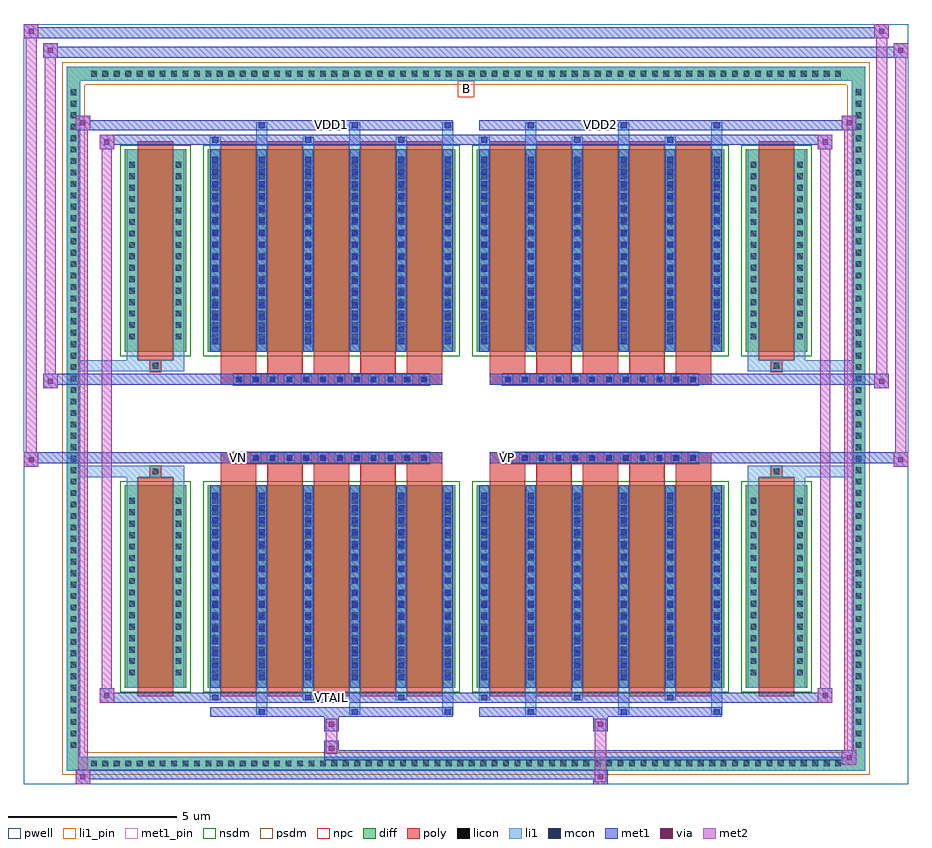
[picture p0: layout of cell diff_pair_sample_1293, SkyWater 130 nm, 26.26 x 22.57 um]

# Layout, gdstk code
import gdstk
lib = gdstk.Library(unit=1e-6, precision=5e-09)
def R(c, l, rs):  # rectangles x0, y0, x1, y1
    for r in rs: c.add(gdstk.rectangle(r[:2], r[2:], *l))
def A(c, l, x, y, w, h, nx, ny, dx, dy):  # array of equal rectangles
    R(c, l, [(x+i*dx, y+j*dy, x+i*dx+w, y+j*dy+h) for i in range(nx) for j in range(ny)])
def P(c, l, *ps):  # polygons
    for p in ps: c.add(gdstk.Polygon(p, *l))
pwell = (64, 44)
diff = (65, 20)
poly = (66, 20)
licon = (66, 44)
li1_pin = (67, 16)
li1 = (67, 20)
mcon = (67, 44)
met1_pin = (68, 16)
met1 = (68, 20)
via = (68, 44)
met2 = (69, 20)
nsdm = (93, 44)
psdm = (94, 20)
npc = (95, 20)

diff_pair_sample_1293 = lib.new_cell('diff_pair_sample_1293')
R(diff_pair_sample_1293, pwell, [(-13.13,-10.85,13.13,11.72), (-10.45,-9.04,-0.01,-0.8), (0.01,-9.04,10.45,-0.8), (-10.45,0.8,-0.01,9.04), (0.01,0.8,10.45,9.04)])
A(diff_pair_sample_1293, diff, -11.255, -10.45, 0.41, 0.41, 66, 2, 0.34, 20.49)
A(diff_pair_sample_1293, diff, -11.86, -9.895, 0.41, 0.41, 1, 58, 0, 0.34)
A(diff_pair_sample_1293, diff, 11.45, -9.895, 0.41, 0.41, 1, 58, 0, 0.34)
R(diff_pair_sample_1293, diff, [(-11.255,-10.45,11.255,-10.04), (-11.86,-9.895,-11.45,9.895), (11.45,-9.895,11.86,9.895), (-10.14,-7.995,-8.31,-1.985), (-7.67,-7.995,-0.32,-1.985), (0.32,-7.995,7.67,-1.985), (8.31,-7.995,10.14,-1.985), (-10.14,1.985,-8.31,7.995), (-7.67,1.985,-0.32,7.995), (0.32,1.985,7.67,7.995), (8.31,1.985,10.14,7.995), (-11.255,10.04,11.255,10.45)])
P(diff_pair_sample_1293, diff, [(11.86,10.45),(-11.86,10.45),(-11.86,-10.04),(-11.45,-10.04),(-11.45,10.04),(11.45,10.04),(11.45,-10.04),(-11.45,-10.04),(-11.86,-10.04),(-11.86,-10.45),(11.86,-10.45)])
A(diff_pair_sample_1293, poly, -7.28, -8.245, 1.05, 6.51, 5, 2, 1.38, 9.98)
A(diff_pair_sample_1293, poly, 0.71, -8.245, 1.05, 6.51, 5, 2, 1.38, 9.98)
A(diff_pair_sample_1293, poly, -7.28, -1.735, 1.05, 0.405, 5, 2, 1.38, 3.065)
A(diff_pair_sample_1293, poly, 0.71, -1.735, 1.05, 0.405, 5, 2, 1.38, 3.065)
A(diff_pair_sample_1293, poly, -6.91, -1.33, 0.33, 0.33, 12, 2, 0.5, 2.33)
A(diff_pair_sample_1293, poly, 1.08, -1.33, 0.33, 0.33, 12, 2, 0.5, 2.33)
R(diff_pair_sample_1293, poly, [(-9.75,-8.245,-8.7,-1.735), (8.7,-8.245,9.75,-1.735), (-9.39,-1.735,-9.06,-1.405), (-9.39,-1.735,-9.06,-1.405), (9.06,-1.735,9.39,-1.405), (9.06,-1.735,9.39,-1.405), (-7.28,-1.33,-0.71,-1), (0.71,-1.33,7.28,-1), (-7.28,1,-0.71,1.33), (0.71,1,7.28,1.33), (-9.39,1.405,-9.06,1.735), (-9.39,1.405,-9.06,1.735), (9.06,1.405,9.39,1.735), (9.06,1.405,9.39,1.735), (-9.75,1.735,-8.7,8.245), (8.7,1.735,9.75,8.245)])
A(diff_pair_sample_1293, licon, -11.135, -10.33, 0.17, 0.17, 66, 2, 0.34, 20.49)
A(diff_pair_sample_1293, licon, -11.74, -9.775, 0.17, 0.17, 1, 58, 0, 0.34)
A(diff_pair_sample_1293, licon, 11.57, -9.775, 0.17, 0.17, 1, 58, 0, 0.34)
A(diff_pair_sample_1293, licon, -10, -7.625, 0.17, 0.17, 1, 16, 0, 0.34)
A(diff_pair_sample_1293, licon, -8.62, -7.625, 0.17, 0.17, 1, 16, 0, 0.34)
A(diff_pair_sample_1293, licon, -7.53, -7.625, 0.17, 0.17, 6, 16, 1.38, 0.34)
A(diff_pair_sample_1293, licon, 0.46, -7.625, 0.17, 0.17, 6, 16, 1.38, 0.34)
A(diff_pair_sample_1293, licon, 8.45, -7.625, 0.17, 0.17, 1, 16, 0, 0.34)
A(diff_pair_sample_1293, licon, 9.83, -7.625, 0.17, 0.17, 1, 16, 0, 0.34)
A(diff_pair_sample_1293, licon, -6.83, -1.25, 0.17, 0.17, 12, 2, 0.5, 2.33)
A(diff_pair_sample_1293, licon, 1.16, -1.25, 0.17, 0.17, 12, 2, 0.5, 2.33)
A(diff_pair_sample_1293, licon, -10, 2.355, 0.17, 0.17, 1, 16, 0, 0.34)
A(diff_pair_sample_1293, licon, -8.62, 2.355, 0.17, 0.17, 1, 16, 0, 0.34)
A(diff_pair_sample_1293, licon, -7.53, 2.355, 0.17, 0.17, 6, 16, 1.38, 0.34)
A(diff_pair_sample_1293, licon, 0.46, 2.355, 0.17, 0.17, 6, 16, 1.38, 0.34)
A(diff_pair_sample_1293, licon, 8.45, 2.355, 0.17, 0.17, 1, 16, 0, 0.34)
A(diff_pair_sample_1293, licon, 9.83, 2.355, 0.17, 0.17, 1, 16, 0, 0.34)
R(diff_pair_sample_1293, licon, [(-9.31,-1.655,-9.14,-1.485), (9.14,-1.655,9.31,-1.485), (-9.31,1.485,-9.14,1.655), (9.14,1.485,9.31,1.655)])
R(diff_pair_sample_1293, li1_pin, [(-0.25,9.54,0.25,10.04)])
A(diff_pair_sample_1293, li1, -11.215, -10.41, 0.33, 0.33, 66, 2, 0.34, 20.49)
A(diff_pair_sample_1293, li1, -11.82, -9.855, 0.33, 0.33, 1, 58, 0, 0.34)
A(diff_pair_sample_1293, li1, 11.49, -9.855, 0.33, 0.33, 1, 58, 0, 0.34)
A(diff_pair_sample_1293, li1, -6.23, -8.8, 0.33, 0.805, 3, 2, 2.76, 16.795)
A(diff_pair_sample_1293, li1, -6.15, -8.8, 0.17, 0.17, 3, 2, 2.76, 17.43)
A(diff_pair_sample_1293, li1, 1.76, -8.8, 0.33, 0.805, 3, 2, 2.76, 16.795)
A(diff_pair_sample_1293, li1, 1.84, -8.8, 0.17, 0.17, 3, 2, 2.76, 17.43)
A(diff_pair_sample_1293, li1, -7.61, -8.37, 0.33, 0.375, 3, 2, 2.76, 16.365)
A(diff_pair_sample_1293, li1, -7.53, -8.37, 0.17, 0.17, 3, 2, 2.76, 16.57)
A(diff_pair_sample_1293, li1, 0.38, -8.37, 0.33, 0.375, 3, 2, 2.76, 16.365)
A(diff_pair_sample_1293, li1, 0.46, -8.37, 0.17, 0.17, 3, 2, 2.76, 16.57)
A(diff_pair_sample_1293, li1, -7.61, -7.995, 0.33, 6.01, 6, 2, 1.38, 9.98)
A(diff_pair_sample_1293, li1, 0.38, -7.995, 0.33, 6.01, 6, 2, 1.38, 9.98)
A(diff_pair_sample_1293, li1, -7.53, -7.775, 0.17, 0.17, 6, 16, 1.38, 0.36)
A(diff_pair_sample_1293, li1, -7.53, -7.775, 0.17, 5.57, 6, 2, 1.38, 9.98)
A(diff_pair_sample_1293, li1, 0.46, -7.775, 0.17, 0.17, 6, 16, 1.38, 0.36)
A(diff_pair_sample_1293, li1, 0.46, -7.775, 0.17, 5.57, 6, 2, 1.38, 9.98)
A(diff_pair_sample_1293, li1, -10.08, -7.705, 0.33, 0.33, 1, 16, 0, 0.34)
A(diff_pair_sample_1293, li1, -8.7, -7.705, 0.33, 0.33, 1, 16, 0, 0.34)
A(diff_pair_sample_1293, li1, -7.61, -7.705, 0.33, 0.33, 6, 16, 1.38, 0.34)
A(diff_pair_sample_1293, li1, 0.38, -7.705, 0.33, 0.33, 6, 16, 1.38, 0.34)
A(diff_pair_sample_1293, li1, 8.37, -7.705, 0.33, 0.33, 1, 16, 0, 0.34)
A(diff_pair_sample_1293, li1, 9.75, -7.705, 0.33, 0.33, 1, 16, 0, 0.34)
A(diff_pair_sample_1293, li1, -6.91, -1.33, 0.33, 0.33, 12, 2, 0.5, 2.33)
A(diff_pair_sample_1293, li1, 1.08, -1.33, 0.33, 0.33, 12, 2, 0.5, 2.33)
A(diff_pair_sample_1293, li1, -7.53, 2.205, 0.17, 0.17, 6, 16, 1.38, 0.36)
A(diff_pair_sample_1293, li1, 0.46, 2.205, 0.17, 0.17, 6, 16, 1.38, 0.36)
A(diff_pair_sample_1293, li1, -10.08, 2.275, 0.33, 0.33, 1, 16, 0, 0.34)
A(diff_pair_sample_1293, li1, -8.7, 2.275, 0.33, 0.33, 1, 16, 0, 0.34)
A(diff_pair_sample_1293, li1, -7.61, 2.275, 0.33, 0.33, 6, 16, 1.38, 0.34)
A(diff_pair_sample_1293, li1, 0.38, 2.275, 0.33, 0.33, 6, 16, 1.38, 0.34)
A(diff_pair_sample_1293, li1, 8.37, 2.275, 0.33, 0.33, 1, 16, 0, 0.34)
A(diff_pair_sample_1293, li1, 9.75, 2.275, 0.33, 0.33, 1, 16, 0, 0.34)
R(diff_pair_sample_1293, li1, [(-11.86,-10.45,-11.45,-10.04), (-11.86,-10.45,-11.45,-10.04), (-11.45,-10.45,11.45,-10.04), (11.45,-10.45,11.86,-10.04), (11.45,-10.45,11.86,-10.04), (-11.86,-10.04,-11.45,10.04), (11.45,-10.04,11.86,10.04), (-10.08,-7.995,-9.75,-1.985), (-8.7,-7.995,-8.37,-1.985), (8.37,-7.995,8.7,-1.985), (9.75,-7.995,10.08,-1.985), (-10.08,-1.985,-9.75,-1.405), (-8.7,-1.985,-8.37,-1.405), (8.37,-1.985,8.7,-1.405), (9.75,-1.985,10.08,-1.405), (-11.86,-1.735,-9.39,-1.405), (-10.08,-1.735,-9.39,-1.405), (-9.39,-1.735,-9.06,-1.405), (-9.06,-1.735,-8.37,-1.405), (8.37,-1.735,9.06,-1.405), (9.06,-1.735,9.39,-1.405), (9.06,-1.735,11.86,-1.405), (9.39,-1.735,10.08,-1.405), (-11.86,1.405,-9.39,1.735), (-10.08,1.405,-9.39,1.735), (-10.08,1.405,-9.75,1.985), (-9.39,1.405,-9.06,1.735), (-9.06,1.405,-8.37,1.735), (-8.7,1.405,-8.37,1.985), (8.37,1.405,9.06,1.735), (8.37,1.405,8.7,1.985), (9.06,1.405,9.39,1.735), (9.06,1.405,11.86,1.735), (9.39,1.405,10.08,1.735), (9.75,1.405,10.08,1.985), (-10.08,1.985,-9.75,7.995), (-8.7,1.985,-8.37,7.995), (8.37,1.985,8.7,7.995), (9.75,1.985,10.08,7.995), (-11.86,10.04,-11.45,10.45), (-11.86,10.04,-11.45,10.45), (-11.45,10.04,11.45,10.45), (11.45,10.04,11.86,10.45), (11.45,10.04,11.86,10.45)])
A(diff_pair_sample_1293, mcon, -6.15, -8.8, 0.17, 0.17, 3, 2, 2.76, 17.43)
A(diff_pair_sample_1293, mcon, 1.84, -8.8, 0.17, 0.17, 3, 2, 2.76, 17.43)
A(diff_pair_sample_1293, mcon, -7.53, -8.37, 0.17, 0.17, 3, 2, 2.76, 16.57)
A(diff_pair_sample_1293, mcon, 0.46, -8.37, 0.17, 0.17, 3, 2, 2.76, 16.57)
A(diff_pair_sample_1293, mcon, -7.53, -7.775, 0.17, 0.17, 6, 16, 1.38, 0.36)
A(diff_pair_sample_1293, mcon, 0.46, -7.775, 0.17, 0.17, 6, 16, 1.38, 0.36)
A(diff_pair_sample_1293, mcon, -6.83, -1.25, 0.17, 0.17, 12, 2, 0.5, 2.33)
A(diff_pair_sample_1293, mcon, 1.16, -1.25, 0.17, 0.17, 12, 2, 0.5, 2.33)
A(diff_pair_sample_1293, mcon, -7.53, 2.205, 0.17, 0.17, 6, 16, 1.38, 0.36)
A(diff_pair_sample_1293, mcon, 0.46, 2.205, 0.17, 0.17, 6, 16, 1.38, 0.36)
R(diff_pair_sample_1293, met1_pin, [(-4.13,-8.41,-3.86,-8.14), (-6.88,-1.29,-6.61,-1.02), (1.11,-1.29,1.38,-1.02), (-4.13,8.59,-3.86,8.86), (3.86,8.59,4.13,8.86)])
A(diff_pair_sample_1293, met1, -6.21, -8.86, 0.29, 0.29, 3, 2, 2.76, 17.43)
A(diff_pair_sample_1293, met1, 1.78, -8.86, 0.29, 0.29, 3, 2, 2.76, 17.43)
A(diff_pair_sample_1293, met1, -7.59, -8.43, 0.29, 0.29, 3, 2, 2.76, 16.57)
A(diff_pair_sample_1293, met1, 0.4, -8.43, 0.29, 0.29, 3, 2, 2.76, 16.57)
A(diff_pair_sample_1293, met1, -7.59, -7.995, 0.29, 6.01, 6, 2, 1.38, 9.98)
A(diff_pair_sample_1293, met1, 0.4, -7.995, 0.29, 6.01, 6, 2, 1.38, 9.98)
A(diff_pair_sample_1293, met1, -7.59, -7.835, 0.29, 0.29, 6, 16, 1.38, 0.36)
A(diff_pair_sample_1293, met1, 0.4, -7.835, 0.29, 0.29, 6, 16, 1.38, 0.36)
A(diff_pair_sample_1293, met1, -6.89, -1.31, 0.29, 0.29, 12, 2, 0.5, 2.33)
A(diff_pair_sample_1293, met1, 1.1, -1.31, 0.29, 0.29, 12, 2, 0.5, 2.33)
A(diff_pair_sample_1293, met1, -7.59, 2.145, 0.29, 0.29, 6, 16, 1.38, 0.36)
A(diff_pair_sample_1293, met1, 0.4, 2.145, 0.29, 0.29, 6, 16, 1.38, 0.36)
R(diff_pair_sample_1293, met1, [(-11.59,-10.85,-11.16,-10.42), (3.78,-10.85,4.21,-10.42), (-11.59,-10.71,4.21,-10.42), (11.16,-10.28,11.59,-9.85), (-4.21,-10.14,11.59,-9.85), (-4.21,-10,-3.78,-9.57), (-4.21,-9.29,-3.78,-8.86), (3.78,-9.29,4.21,-8.86), (-7.59,-8.86,-0.4,-8.57), (0.4,-8.86,7.59,-8.57), (-10.88,-8.43,-10.45,-8), (-10.88,-8.43,-7.59,-8.14), (-7.59,-8.43,-0.4,-8.14), (-0.4,-8.43,0.4,-8.14), (0.4,-8.43,7.59,-8.14), (7.59,-8.43,10.88,-8.14), (10.45,-8.43,10.88,-8), (-13.13,-1.43,-12.7,-1), (12.7,-1.43,13.13,-1), (-13.13,-1.33,-0.71,-1), (-7.28,-1.33,-0.71,-1), (0.71,-1.33,7.28,-1), (0.71,-1.33,13.13,-1), (-12.56,0.9,-12.13,1.33), (12.13,0.9,12.56,1.33), (-12.56,1,-7.28,1.33), (-7.28,1,-0.71,1.33), (0.71,1,7.28,1.33), (7.28,1,12.56,1.33), (-10.88,8,-10.45,8.43), (10.45,8,10.88,8.43), (-10.88,8.14,-7.59,8.43), (-7.59,8.14,-0.4,8.43), (-0.4,8.14,0.4,8.43), (0.4,8.14,7.59,8.43), (7.59,8.14,10.88,8.43), (-11.59,8.57,-11.16,9), (-11.59,8.57,-7.59,8.86), (-7.59,8.57,-0.4,8.86), (0.4,8.57,7.59,8.86), (7.59,8.57,11.59,8.86), (11.16,8.57,11.59,9), (-12.56,10.72,-12.13,11.15), (-12.56,10.72,-10.45,11.05), (-10.45,10.72,10.45,11.05), (10.45,10.72,13.13,11.05), (12.7,10.72,13.13,11.15), (-13.13,11.29,-12.7,11.72), (-13.13,11.29,-10.45,11.62), (-10.45,11.29,10.45,11.62), (10.45,11.29,12.56,11.62), (12.13,11.29,12.56,11.72)])
R(diff_pair_sample_1293, via, [(-11.45,-10.71,-11.3,-10.56), (3.92,-10.71,4.07,-10.56), (11.3,-10.14,11.45,-9.99), (-4.07,-9.86,-3.92,-9.71), (-4.07,-9.15,-3.92,-9), (3.92,-9.15,4.07,-9), (-10.74,-8.29,-10.59,-8.14), (10.59,-8.29,10.74,-8.14), (-12.99,-1.29,-12.84,-1.14), (12.84,-1.29,12.99,-1.14), (-12.42,1.04,-12.27,1.19), (12.27,1.04,12.42,1.19), (-10.74,8.14,-10.59,8.29), (10.59,8.14,10.74,8.29), (-11.45,8.71,-11.3,8.86), (11.3,8.71,11.45,8.86), (-12.42,10.86,-12.27,11.01), (12.84,10.86,12.99,11.01), (-12.99,11.43,-12.84,11.58), (12.27,11.43,12.42,11.58)])
R(diff_pair_sample_1293, met2, [(-11.59,-10.85,-11.16,-10.42), (-11.52,-10.85,-11.23,9), (-11.23,-10.85,-11.16,-10.42), (-11.54,-10.8,-11.21,-10.47), (3.83,-10.8,4.16,-10.47), (3.83,-10.47,4.16,-9.24), (11.16,-10.28,11.59,-9.85), (11.23,-10.28,11.52,9), (11.52,-10.28,11.59,-9.85), (11.21,-10.23,11.54,-9.9), (-4.16,-9.95,-3.83,-9.62), (-4.16,-9.62,-3.83,-9.24), (-4.16,-9.24,-3.83,-8.91), (3.83,-9.24,4.16,-8.91), (-10.88,-8.43,-10.45,-8), (-10.81,-8.43,-10.52,8.43), (-10.52,-8.43,-10.45,-8), (10.45,-8.43,10.88,-8), (10.52,-8.43,10.81,8.43), (10.81,-8.43,10.88,-8), (-10.83,-8.38,-10.5,-8.05), (10.5,-8.38,10.83,-8.05), (-13.13,-1.43,-12.7,-1), (-13.08,-1.43,-12.75,11.72), (-12.75,-1.43,-12.7,-1), (12.7,-1.43,13.13,-1), (12.75,-1.43,13.08,11.15), (13.08,-1.43,13.13,-1), (-13.08,-1.38,-12.75,-1.05), (12.75,-1.38,13.08,-1.05), (-12.56,0.9,-12.13,1.33), (-12.51,0.9,-12.18,11.15), (-12.18,0.9,-12.13,1.33), (12.13,0.9,12.56,1.33), (12.18,0.9,12.51,11.72), (12.51,0.9,12.56,1.33), (-12.51,0.95,-12.18,1.28), (12.18,0.95,12.51,1.28), (-10.88,8,-10.45,8.43), (-10.52,8,-10.45,8.43), (10.45,8,10.88,8.43), (10.81,8,10.88,8.43), (-10.83,8.05,-10.5,8.38), (10.5,8.05,10.83,8.38), (-11.59,8.57,-11.16,9), (-11.23,8.57,-11.16,9), (11.16,8.57,11.59,9), (11.52,8.57,11.59,9), (-11.54,8.62,-11.21,8.95), (11.21,8.62,11.54,8.95), (-12.56,10.72,-12.13,11.15), (-12.18,10.72,-12.13,11.15), (12.7,10.72,13.13,11.15), (13.08,10.72,13.13,11.15), (-12.51,10.77,-12.18,11.1), (12.75,10.77,13.08,11.1), (-13.13,11.29,-12.7,11.72), (-12.75,11.29,-12.7,11.72), (12.13,11.29,12.56,11.72), (12.51,11.29,12.56,11.72), (-13.08,11.34,-12.75,11.67), (12.18,11.34,12.51,11.67)])
R(diff_pair_sample_1293, nsdm, [(-10.27,-8.125,-8.18,-1.855), (-7.8,-8.125,-0.19,-1.855), (0.19,-8.125,7.8,-1.855), (8.18,-8.125,10.27,-1.855), (-10.27,1.855,-8.18,8.125), (-7.8,1.855,-0.19,8.125), (0.19,1.855,7.8,8.125), (8.18,1.855,10.27,8.125)])
P(diff_pair_sample_1293, psdm, [(11.99,10.58),(-11.99,10.58),(-11.99,-9.91),(-11.32,-9.91),(-11.32,9.91),(11.32,9.91),(11.32,-9.91),(-11.32,-9.91),(-11.99,-9.91),(-11.99,-10.58),(11.99,-10.58)])
A(diff_pair_sample_1293, npc, -6.93, -1.35, 0.37, 0.37, 12, 2, 0.5, 2.33)
A(diff_pair_sample_1293, npc, 1.06, -1.35, 0.37, 0.37, 12, 2, 0.5, 2.33)
R(diff_pair_sample_1293, npc, [(-9.41,-1.755,-9.04,-1.385), (9.04,-1.755,9.41,-1.385), (-6.93,-1.35,-6.06,-0.98), (-6.93,-1.35,-6.06,-0.98), (-6.43,-1.35,-5.56,-0.98), (-6.43,-1.35,-5.56,-0.98), (-5.93,-1.35,-5.06,-0.98), (-5.93,-1.35,-5.06,-0.98), (-5.43,-1.35,-4.56,-0.98), (-5.43,-1.35,-4.56,-0.98), (-4.93,-1.35,-4.06,-0.98), (-4.93,-1.35,-4.06,-0.98), (-4.43,-1.35,-3.56,-0.98), (-4.43,-1.35,-3.56,-0.98), (-3.93,-1.35,-3.06,-0.98), (-3.93,-1.35,-3.06,-0.98), (-3.43,-1.35,-2.56,-0.98), (-3.43,-1.35,-2.56,-0.98), (-2.93,-1.35,-2.06,-0.98), (-2.93,-1.35,-2.06,-0.98), (-2.43,-1.35,-1.56,-0.98), (-2.43,-1.35,-1.56,-0.98), (-1.93,-1.35,-1.06,-0.98), (-1.93,-1.35,-1.06,-0.98), (1.06,-1.35,1.93,-0.98), (1.06,-1.35,1.93,-0.98), (1.56,-1.35,2.43,-0.98), (1.56,-1.35,2.43,-0.98), (2.06,-1.35,2.93,-0.98), (2.06,-1.35,2.93,-0.98), (2.56,-1.35,3.43,-0.98), (2.56,-1.35,3.43,-0.98), (3.06,-1.35,3.93,-0.98), (3.06,-1.35,3.93,-0.98), (3.56,-1.35,4.43,-0.98), (3.56,-1.35,4.43,-0.98), (4.06,-1.35,4.93,-0.98), (4.06,-1.35,4.93,-0.98), (4.56,-1.35,5.43,-0.98), (4.56,-1.35,5.43,-0.98), (5.06,-1.35,5.93,-0.98), (5.06,-1.35,5.93,-0.98), (5.56,-1.35,6.43,-0.98), (5.56,-1.35,6.43,-0.98), (6.06,-1.35,6.93,-0.98), (6.06,-1.35,6.93,-0.98), (-6.93,0.98,-6.06,1.35), (-6.93,0.98,-6.06,1.35), (-6.43,0.98,-5.56,1.35), (-6.43,0.98,-5.56,1.35), (-5.93,0.98,-5.06,1.35), (-5.93,0.98,-5.06,1.35), (-5.43,0.98,-4.56,1.35), (-5.43,0.98,-4.56,1.35), (-4.93,0.98,-4.06,1.35), (-4.93,0.98,-4.06,1.35), (-4.43,0.98,-3.56,1.35), (-4.43,0.98,-3.56,1.35), (-3.93,0.98,-3.06,1.35), (-3.93,0.98,-3.06,1.35), (-3.43,0.98,-2.56,1.35), (-3.43,0.98,-2.56,1.35), (-2.93,0.98,-2.06,1.35), (-2.93,0.98,-2.06,1.35), (-2.43,0.98,-1.56,1.35), (-2.43,0.98,-1.56,1.35), (-1.93,0.98,-1.06,1.35), (-1.93,0.98,-1.06,1.35), (1.06,0.98,1.93,1.35), (1.06,0.98,1.93,1.35), (1.56,0.98,2.43,1.35), (1.56,0.98,2.43,1.35), (2.06,0.98,2.93,1.35), (2.06,0.98,2.93,1.35), (2.56,0.98,3.43,1.35), (2.56,0.98,3.43,1.35), (3.06,0.98,3.93,1.35), (3.06,0.98,3.93,1.35), (3.56,0.98,4.43,1.35), (3.56,0.98,4.43,1.35), (4.06,0.98,4.93,1.35), (4.06,0.98,4.93,1.35), (4.56,0.98,5.43,1.35), (4.56,0.98,5.43,1.35), (5.06,0.98,5.93,1.35), (5.06,0.98,5.93,1.35), (5.56,0.98,6.43,1.35), (5.56,0.98,6.43,1.35), (6.06,0.98,6.93,1.35), (6.06,0.98,6.93,1.35), (-9.41,1.385,-9.04,1.755), (9.04,1.385,9.41,1.755)])
diff_pair_sample_1293.add(gdstk.Label('VTAIL', (-3.995,-8.275), layer=68, texttype=5))
diff_pair_sample_1293.add(gdstk.Label('VN', (-6.745,-1.155), layer=68, texttype=5))
diff_pair_sample_1293.add(gdstk.Label('VP', (1.245,-1.155), layer=68, texttype=5))
diff_pair_sample_1293.add(gdstk.Label('B', (0,9.79), layer=67, texttype=5))
diff_pair_sample_1293.add(gdstk.Label('VDD2', (3.995,8.725), layer=68, texttype=5))
diff_pair_sample_1293.add(gdstk.Label('VDD1', (-3.995,8.725), layer=68, texttype=5))

lib.write_gds('diff_pair_sample_1293.gds')
